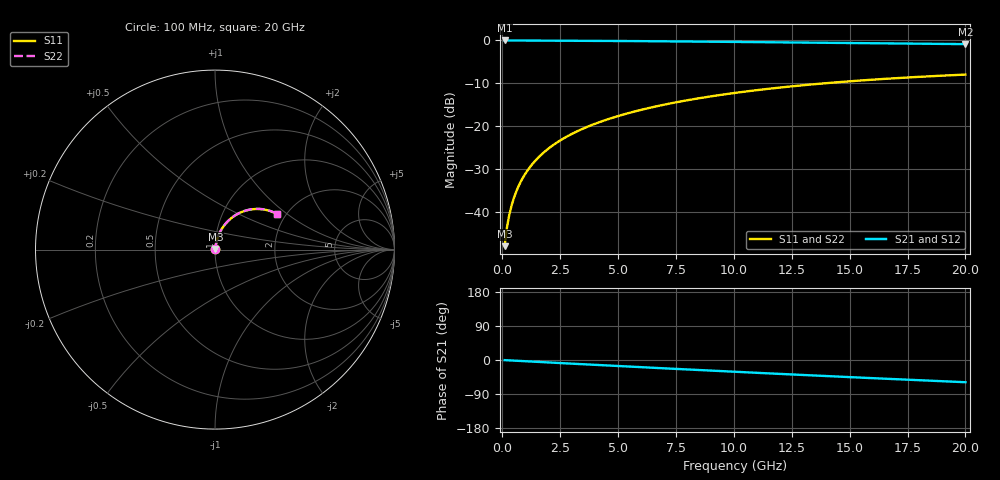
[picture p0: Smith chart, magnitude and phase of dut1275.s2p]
! Touchstone file exported from HFSS 2026.1.0
!  File:  C:/ffzhzh/LocalFiles/Ansys_Project_Files/temp_train_TMRDL_1275_1783164252_55132.aedt
!  Generated:  07:25:39 PM Jul  4, 2026
!  Design:  TMRDL
!  Project:  temp_train_TMRDL_1275_1783164252_55132
! Variables:
!  h_bsmrdl = 2um
!  h_ox = 20um
!  h_rdl = 5um
!  h_sub = 80um
!  h_tmrdl = 5.89um
!  h_tsv = 80um
!  h_via = 3um
!  l_bsmrdl = 300um
!  l_sub = 1368.33um
!  l_tmrdl = 968.33um
!  m_sub = 200um
!  pitch = 48.19um
!  r_tsv = 6um
!  s_tmrdl = 10um
!  w_bsmrdl = 18um
!  w_sub = 500um
!  w_tmrdl = 24.97um
!  x_tsv_center1 = 980.815um
!  x_tsv_center2 = 1298.815um
!  x_tsv_center3 = 2292.115um
!  x_tsv_center4 = 2610.115um
!  x_tsv_center5 = 3603.415um
!  x_tsv_center6 = 3921.415um
# GHz S MA R 50.000000
! Terminal data exported
! Port[1] = TM_RDL1_1_T1
! Port[2] = TM_RDL1_1_T2
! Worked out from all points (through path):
!   200 points, 100 MHz to 20 GHz, reference 50 ohm
!   highest |S21| = -0.02 dB at 100 MHz (marker M1); lowest = -0.9 dB at 20 GHz (marker M2)
!   group delay of S21, straight-line fit = 8.14 ps
!   lowest |S11| = -48.0 dB at 100 MHz (marker M3), VSWR 1.01, Z = 50.3 + j0.308 ohm
!   |S11| at or under -10 dB: start of sweep to 13.93 GHz
!   |S22| runs from -48.0 to -8.0 dB; largest |S21 - S12| = 2.6e-14
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0.1  0.004003 49.9  0.9974 -0.3  0.9974 -0.3  0.004003 49.9
! Gamma 0 0 0 0
! Port Impedance 50 0 50 0
0.2  0.00659 64.3  0.9972 -0.7  0.9972 -0.7  0.00659 64.3
0.3  0.009235 70.2  0.997 -1.0  0.997 -1.0  0.009235 70.2
0.4  0.01189 73.5  0.9969 -1.3  0.9969 -1.3  0.01189 73.5
0.5  0.01456 75.6  0.9967 -1.6  0.9967 -1.6  0.01456 75.6
0.7  0.01995 78.0  0.9965 -2.3  0.9965 -2.3  0.01995 78.0
0.8  0.02266 78.6  0.9964 -2.6  0.9964 -2.6  0.02266 78.6
1  0.02809 79.4  0.9961 -3.3  0.9961 -3.3  0.02809 79.4
1.2  0.03352 79.6  0.9957 -3.9  0.9957 -3.9  0.03352 79.6
1.4  0.03894 79.6  0.9953 -4.6  0.9953 -4.6  0.03893 79.6
1.7  0.04702 79.3  0.9947 -5.5  0.9947 -5.5  0.04701 79.3
2  0.05503 78.7  0.9939 -6.5  0.9939 -6.5  0.05503 78.8
2.7  0.07346 77.1  0.9919 -8.7  0.9919 -8.7  0.07346 77.1
3.5  0.09402 74.9  0.9893 -11.2  0.9893 -11.2  0.09402 74.9
4.2  0.1116 72.9  0.9867 -13.4  0.9867 -13.4  0.1116 73.0
5  0.1313 70.7  0.9836 -15.9  0.9836 -15.9  0.1312 70.7
6.8  0.1738 65.6  0.9757 -21.4  0.9757 -21.4  0.1738 65.7
8.3  0.2074 61.3  0.9683 -25.9  0.9683 -25.9  0.2074 61.4
10.1  0.2453 56.2  0.9587 -31.2  0.9587 -31.2  0.2453 56.4
13.4  0.3072 47.1  0.9399 -40.7  0.9399 -40.7  0.3072 47.2
16.7  0.3586 38.2  0.9211 -49.9  0.9211 -49.9  0.3585 38.4
20  0.3993 29.6  0.9041 -58.6  0.9041 -58.6  0.3992 29.8
